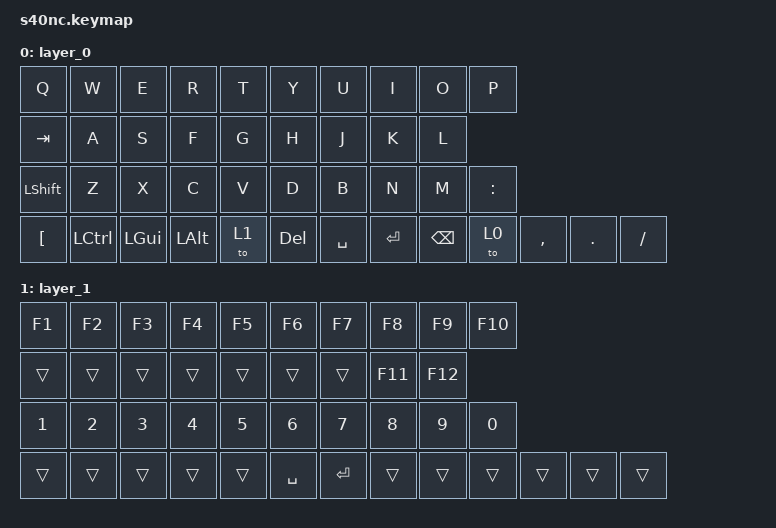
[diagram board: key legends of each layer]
#include <behaviors.dtsi>
#include <dt-bindings/zmk/keys.h>

/ {
    keymap {
        compatible = "zmk,keymap";

        layer_0 {
            bindings = <
　　　　　　　　　&kp Q  　　&kp W  &kp E  &kp R  &kp T  &kp Y  &kp U  &kp I  &kp O  &kp P  
　　　　　　　　　&kp TAB  　&kp A  &kp S  &kp F  &kp G  &kp H  &kp J  &kp K　&kp L  
　　　　　　　　　&kp LSHFT  &kp Z  &kp X  &kp C  &kp V  &kp D　&kp B  &kp N  &kp M  &kp COLON  &kp LBKT  
　　　　　　　　　&kp LCTRL  &kp LGUI  &kp LALT  &to 1  &kp DELETE  &kp SPACE　&kp RET　&kp BACKSPACE  &to 0  &kp COMMA  &kp DOT  &kp FSLH
            >;
        };

        layer_1 {
            bindings = <
　　　　　　　　　&kp F1  &kp F2  &kp F3  &kp F4  &kp F5  &kp F6  &kp F7  &kp F8  &kp F9  &kp F10  
　　　　　　　　　&trans  &trans  &trans  &trans  &trans  &trans  &trans  &kp F11　&kp F12  
　　　　　　　　　&kp N1  &kp N2  &kp N3  &kp N4  &kp N5  &kp N6  &kp N7  &kp N8  &kp N9  &kp N0
　　　　　　　　　&trans  &trans  &trans  &trans  &trans  &kp SPACE  &kp RET　&trans  &trans  &trans  &trans  &trans　&trans
            >;
        };
    };
};
